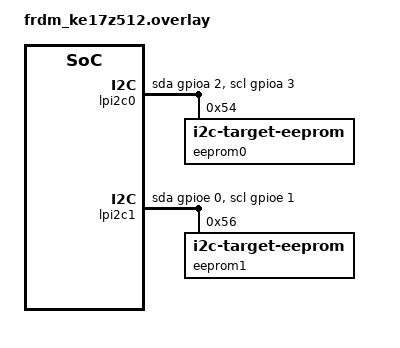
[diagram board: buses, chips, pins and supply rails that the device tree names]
/*
 * Copyright 2024-2026 NXP
 *
 * SPDX-License-Identifier: Apache-2.0
 */

/* To test this sample, connect
 * LPI2C0 SCL(J2-20)  -->  LPI2C1 SCL(J2-10)
 * LPI2C0 SDA(J2-18)  -->  LPI2C1 SDA(J2-12)
 */

/* lpspi0 uses PTE0/PTE1, which conflict with lpi2c1 SDA/SCL */
&lpspi0 {
	status = "disabled";
};

&gpioa {
	status = "okay";
};

&lpi2c0 {
	scl-gpios = <&gpioa 3 (GPIO_ACTIVE_HIGH | GPIO_PULL_UP)>;
	sda-gpios = <&gpioa 2 (GPIO_ACTIVE_HIGH | GPIO_PULL_UP)>;
	recover-bus-on-init;

	eeprom0: eeprom@54 {
		compatible = "zephyr,i2c-target-eeprom";
		reg = <0x54>;
		size = <256>;
	};
};

&lpi2c1 {
	scl-gpios = <&gpioe 1 (GPIO_ACTIVE_HIGH | GPIO_PULL_UP)>;
	sda-gpios = <&gpioe 0 (GPIO_ACTIVE_HIGH | GPIO_PULL_UP)>;
	recover-bus-on-init;

	eeprom1: eeprom@56 {
		compatible = "zephyr,i2c-target-eeprom";
		reg = <0x56>;
		size = <256>;
	};
};
